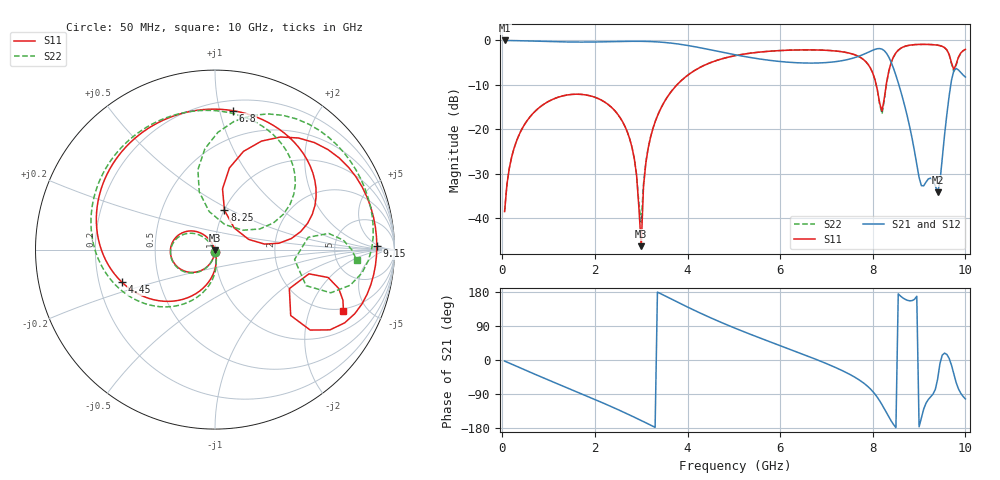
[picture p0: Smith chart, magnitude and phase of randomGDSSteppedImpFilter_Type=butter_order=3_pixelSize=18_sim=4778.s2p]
! freq	dB(S11)	phase(S11)	dB(S12)	phase(S12)
!  dB(S21)	phase(S21)	dB(S22)	phase(S22)
!S-par simulation data
#  GHz  S  DB  R 50
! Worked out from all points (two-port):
!   200 points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, 50 MHz to 10 GHz, reference 50 ohm
!   highest |S21| = -0.01 dB at 50 MHz (marker M1); lowest = -34.1 dB at 9.4 GHz (marker M2)
!   |S21| within 3 dB of the highest: start of sweep to 4.922 GHz; 7.828 GHz to 8.304 GHz (476.2 MHz wide, 5.9 % of centre)
!   lowest |S11| = -46.2 dB at 3 GHz (marker M3), VSWR 1.01, Z = 50 - j0.489 ohm
!   |S11| at or under -10 dB: start of sweep to 3.771 GHz; 8.074 GHz to 8.291 GHz (216.5 MHz wide, 2.65 % of centre)
!   |S22| runs from -40.8 to -0.9 dB; largest |S21 - S12| = 0
!   S11 on the Smith chart (normalised r, x): 50 MHz: 1.00, -0.02; 4.45 GHz: 0.30, -0.15; 6.8 GHz: 0.28, +1.10; 8.25 GHz: 1.00, +0.46; 9.15 GHz: 19, +4; 10 GHz: 1.89, -3.46
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0.05  -38.44 -93.1  -0.01 -2.8  -0.01 -2.8  -38.42 -93.0
0.2  -26.29 -101.9  -0.04 -10.8  -0.04 -10.8  -26.29 -101.5
0.5  -18.57 -117.9  -0.10 -26.8  -0.10 -26.8  -18.57 -117.0
1.75  -12.17 176.5  -0.38 -91.3  -0.38 -91.3  -12.17 179.9
2.7  -20.57 125.1  -0.22 -142.3  -0.22 -142.3  -20.58 132.8
2.9  -30.33 114.6  -0.20 -153.8  -0.20 -153.8  -30.23 130.6
3  -46.22 -88.4  -0.21 -159.7  -0.21 -159.7  -40.82 -125.8
3.1  -27.53 -80.5  -0.23 -165.7  -0.23 -165.7  -27.32 -83.6
3.4  -15.78 -98.0  -0.37 176.1  -0.37 176.1  -15.74 -94.5
4.45  -5.20 -160.8  -2.02 114.0  -2.02 114.0  -5.18 -152.8
5.05  -3.39 167.4  -3.27 82.8  -3.27 82.8  -3.37 177.3
6.7  -2.13 87.7  -5.10 5.3  -5.10 5.3  -2.13 103.7
6.8  -2.15 82.7  -5.08 0.4  -5.08 0.4  -2.15 99.1
7.8  -4.31 23.8  -3.14 -60.6  -3.14 -60.6  -4.30 43.0
8.25  -12.95 76.5  -2.32 -128.9  -2.32 -128.9  -13.36 98.7
8.35  -6.71 80.0  -3.83 -151.0  -3.83 -151.0  -6.83 102.1
8.6  -1.79 47.1  -11.28 168.6  -11.28 168.6  -1.82 68.8
9.15  -0.90 1.2  -31.82 -113.7  -31.82 -113.7  -0.89 22.5
9.4  -1.08 -16.3  -34.08 -50.8  -34.08 -50.8  -1.07 4.6
9.7  -5.05 -41.0  -8.94 -13.8  -8.94 -13.8  -5.26 -21.6
9.8  -5.34 -14.5  -6.30 -59.3  -6.30 -59.3  -5.61 7.5
10  -2.02 -25.4  -8.23 -102.6  -8.23 -102.6  -2.04 -4.2
